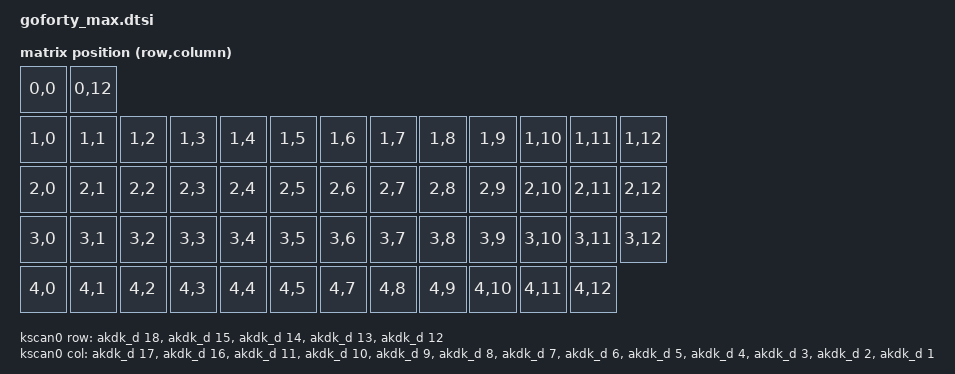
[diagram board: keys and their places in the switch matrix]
#include <dt-bindings/zmk/matrix_transform.h>
#include "goforty_max-layouts.dtsi"

/ {
    chosen {
        zmk,kscan = &kscan0;
        zmk,physical-layout = &physical_layout0;
    };

    kscan0: kscan {
        compatible = "zmk,kscan-gpio-matrix";
        diode-direction = "col2row";
        /* J1(20 ピン)の番号 = acdb の D 番号。回路図の名前は歴史的経緯で
           ずれていて、一番上の行(EX1 / EX2 の 2 キー)が回路図の ROW4(pin 18)、
           以下は上から順に ROW0、ROW1、ROW2、ROW3。
           初代の基板は ROW0..3 = pin 14, 13, 12, 11、COL2 = pin 15 だった。
           今の基板は ROW0..3 = pin 15, 14, 13, 12、COL2 = pin 11 と、
           ROW0 と COL2 の位置が入れ替わっている。他は同じ:
           COL0 = 17、COL1 = 16、COL3 = 10 … COL12 = 1。 */
        row-gpios = <&akdk_d 18 (GPIO_ACTIVE_HIGH | GPIO_PULL_DOWN)>,  /* 回路図 ROW4: EX1 / EX2 */
            <&akdk_d 15 (GPIO_ACTIVE_HIGH | GPIO_PULL_DOWN)>,  /* ROW0 */
            <&akdk_d 14 (GPIO_ACTIVE_HIGH | GPIO_PULL_DOWN)>,  /* ROW1 */
            <&akdk_d 13 (GPIO_ACTIVE_HIGH | GPIO_PULL_DOWN)>,  /* ROW2 */
            <&akdk_d 12 (GPIO_ACTIVE_HIGH | GPIO_PULL_DOWN)>;  /* ROW3 */
        col-gpios = <&akdk_d 17 (GPIO_ACTIVE_HIGH)>,  /* COL0 */
            <&akdk_d 16 (GPIO_ACTIVE_HIGH)>,  /* COL1 */
            <&akdk_d 11 (GPIO_ACTIVE_HIGH)>,  /* COL2 */
            <&akdk_d 10 (GPIO_ACTIVE_HIGH)>,  /* COL3 */
            <&akdk_d 9 (GPIO_ACTIVE_HIGH)>,   /* COL4 */
            <&akdk_d 8 (GPIO_ACTIVE_HIGH)>,   /* COL5 */
            <&akdk_d 7 (GPIO_ACTIVE_HIGH)>,   /* COL6 */
            <&akdk_d 6 (GPIO_ACTIVE_HIGH)>,   /* COL7 */
            <&akdk_d 5 (GPIO_ACTIVE_HIGH)>,   /* COL8 */
            <&akdk_d 4 (GPIO_ACTIVE_HIGH)>,   /* COL9 */
            <&akdk_d 3 (GPIO_ACTIVE_HIGH)>,   /* COL10 */
            <&akdk_d 2 (GPIO_ACTIVE_HIGH)>,   /* COL11 */
            <&akdk_d 1 (GPIO_ACTIVE_HIGH)>;   /* COL12 */
    };

    default_transform: keymap_transform {
        compatible = "zmk,matrix-transform";
        rows = <5>;
        columns = <13>;
        map = <
            RC(0,0) RC(0,12)
            RC(1,0) RC(1,1) RC(1,2) RC(1,3) RC(1,4) RC(1,5) RC(1,6) RC(1,7) RC(1,8) RC(1,9) RC(1,10) RC(1,11) RC(1,12)
            RC(2,0) RC(2,1) RC(2,2) RC(2,3) RC(2,4) RC(2,5) RC(2,6) RC(2,7) RC(2,8) RC(2,9) RC(2,10) RC(2,11) RC(2,12)
            RC(3,0) RC(3,1) RC(3,2) RC(3,3) RC(3,4) RC(3,5) RC(3,6) RC(3,7) RC(3,8) RC(3,9) RC(3,10) RC(3,11) RC(3,12)
            RC(4,0) RC(4,1) RC(4,2) RC(4,3) RC(4,4) RC(4,5) RC(4,7) RC(4,8) RC(4,9) RC(4,10) RC(4,11) RC(4,12)
        >;
    };
};
